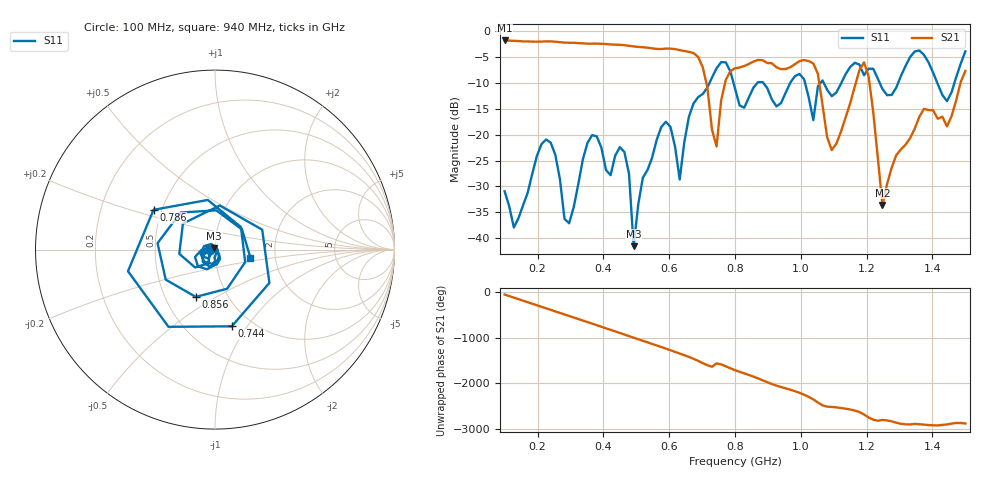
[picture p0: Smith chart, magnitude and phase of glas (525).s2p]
! NanoVNA-App
! Date: 2025-09-25 15:59:33
! Start: 100MHz Stop: 1,5GHz Points: 101
! S-Parameter data: F S11 S21 S12 S22
# Hz S RI R 50
!  Frequency  S11_Real  S11_Imag  S21_Real  S21_Imag  S12_Real  S12_Imag  S22_Real  S22_Imag
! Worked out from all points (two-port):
!   101 points, 100 MHz to 1.5 GHz, reference 50 ohm
!   highest |S21| = -1.80 dB at 100 MHz (marker M1); lowest = -33.6 dB at 1.248 GHz (marker M2)
!   |S21| within 3 dB of the highest: start of sweep to 684.7 MHz
!   lowest |S11| = -41.5 dB at 492 MHz (marker M3), VSWR 1.02, Z = 49.5 + j0.632 ohm
!   |S11| at or under -10 dB: start of sweep to 722.5 MHz; 795.4 MHz to 868.1 MHz (72.68 MHz wide, 8.74 % of centre); 885.9 MHz to 967.7 MHz (81.81 MHz wide, 8.83 % of centre) (the widest 3 of 7)
!   S12 and S22 are empty: the file has one direction only
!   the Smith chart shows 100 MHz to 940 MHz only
!   S11 on the Smith chart (normalised r, x): 100 MHz: 0.95, -0.01; 744 MHz: 0.81, -0.85; 786 MHz: 0.45, +0.24; 856 MHz: 0.71, -0.41; 940 MHz: 1.48, -0.14
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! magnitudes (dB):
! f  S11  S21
! 100 MHz  -30.9  -1.8
! 128 MHz  -37.9  -1.9
! 226 MHz  -20.9  -2.0
! 296 MHz  -37.1  -2.2
! 338 MHz  -24.7  -2.4
! 464 MHz  -23.4  -2.7
! 492 MHz  -41.5  -3.0
! 576 MHz  -18.5  -3.5
! 632 MHz  -28.7  -3.7
! 702 MHz  -12.1  -7.0
! 744 MHz  -7.2  -22.3
! 786 MHz  -7.8  -7.7
! 800 MHz  -11.1  -7.2
! 856 MHz  -10.9  -5.9
! 940 MHz  -13.9  -7.3
! 1.038 GHz  -17.2  -6.2
! 1.094 GHz  -12.6  -23.0
! 1.192 GHz  -8.5  -6.0
! 1.248 GHz  -11.2  -33.6
! 1.276 GHz  -12.3  -26.4
! 1.444 GHz  -13.5  -18.4
! 1.5 GHz  -3.9  -7.7
